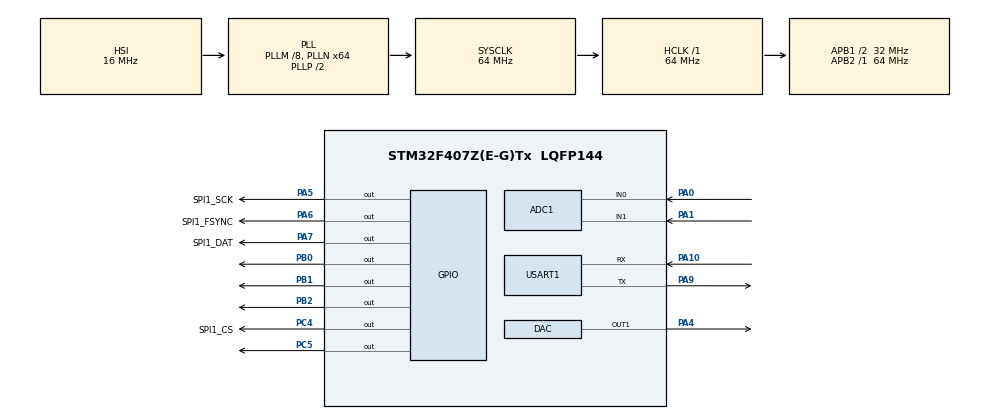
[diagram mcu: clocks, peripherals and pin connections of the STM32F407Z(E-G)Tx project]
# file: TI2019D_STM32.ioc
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ADC1.Channel-0\#ChannelRegularConversion=ADC_CHANNEL_1
ADC1.DMAContinuousRequests=ENABLE
ADC1.ExternalTrigConv=ADC_EXTERNALTRIGCONV_T2_CC2
ADC1.NbrOfConversion=1
ADC1.NbrOfConversionFlag=1
ADC1.Rank-0\#ChannelRegularConversion=1
ADC1.SamplingTime-0\#ChannelRegularConversion=ADC_SAMPLETIME_3CYCLES
ADC1.master=1
DAC.DAC_Trigger=DAC_TRIGGER_SOFTWARE
Dma.ADC1.0.Direction=DMA_PERIPH_TO_MEMORY
Dma.ADC1.0.FIFOMode=DMA_FIFOMODE_DISABLE
Dma.ADC1.0.Instance=DMA2_Stream0
Dma.ADC1.0.MemDataAlignment=DMA_MDATAALIGN_HALFWORD
Dma.ADC1.0.MemInc=DMA_MINC_ENABLE
Dma.ADC1.0.Mode=DMA_CIRCULAR
Dma.ADC1.0.PeriphDataAlignment=DMA_PDATAALIGN_HALFWORD
Dma.ADC1.0.PeriphInc=DMA_PINC_DISABLE
Dma.ADC1.0.Priority=DMA_PRIORITY_LOW
Dma.Request0=ADC1
Mcu.Family=STM32F4
Mcu.Name=STM32F407Z(E-G)Tx
Mcu.Package=LQFP144
NVIC.ADC_IRQn=true\:1\:0\:true\:false\:true\:true\:true\:true
NVIC.DMA2_Stream0_IRQn=true\:0\:0\:false\:false\:true\:false\:true\:true
NVIC.PriorityGroup=NVIC_PRIORITYGROUP_4
NVIC.USART1_IRQn=true\:0\:0\:true\:false\:true\:true\:true\:true
PA0-WKUP.Signal=ADCx_IN0
PA1.Signal=ADCx_IN1
PA10.Mode=Asynchronous
PA10.Signal=USART1_RX
PA4.Signal=COMP_DAC1_group
PA5.GPIO_Label=SPI1_SCK
PA5.Signal=GPIO_Output
PA6.GPIO_Label=SPI1_FSYNC
PA6.Signal=GPIO_Output
PA7.GPIO_Label=SPI1_DAT
PA7.Signal=GPIO_Output
PA9.Mode=Asynchronous
PA9.Signal=USART1_TX
PB0.Signal=GPIO_Output
PB1.Signal=GPIO_Output
PB2.Signal=GPIO_Output
PC4.GPIO_Label=SPI1_CS
PC4.Signal=GPIO_Output
PC5.Signal=GPIO_Output
PH0-OSC_IN.Mode=HSE-External-Oscillator
PH0-OSC_IN.Signal=RCC_OSC_IN
PH1-OSC_OUT.Mode=HSE-External-Oscillator
PH1-OSC_OUT.Signal=RCC_OSC_OUT
ProjectManager.HeapSize=0x200
ProjectManager.StackSize=0x1400
ProjectManager.TargetToolchain=MDK-ARM V5.32
RCC.48MHZClocksFreq_Value=32000000
RCC.AHBFreq_Value=64000000
RCC.APB1CLKDivider=RCC_HCLK_DIV2
RCC.APB1Freq_Value=32000000
RCC.APB1TimFreq_Value=64000000
RCC.APB2Freq_Value=64000000
RCC.APB2TimFreq_Value=64000000
RCC.CortexFreq_Value=64000000
RCC.HCLKFreq_Value=64000000
RCC.HSE_VALUE=8000000
RCC.HSI_VALUE=16000000
RCC.LSE_VALUE=32768
RCC.PLLM=8
RCC.PLLN=64
RCC.SYSCLKFreq_VALUE=64000000
RCC.SYSCLKSource=RCC_SYSCLKSOURCE_PLLCLK
RCC.VCOOutputFreq_Value=128000000
SH.ADCx_IN0.0=ADC1_IN0,IN0
SH.ADCx_IN1.0=ADC1_IN1,IN1
SH.COMP_DAC1_group.0=DAC_OUT1,DAC_OUT1
TIM2.AutoReloadPreload=TIM_AUTORELOAD_PRELOAD_DISABLE
TIM2.Channel-PWM\ Generation2\ No\ Output=TIM_CHANNEL_2
TIM2.Period=31
TIM2.TIM_MasterOutputTrigger=TIM_TRGO_RESET
USART1.VirtualMode=VM_ASYNC
VP_TIM2_VS_ClockSourceINT.Mode=Internal
VP_TIM2_VS_no_output2.Mode=PWM Generation2 No Output
board=custom

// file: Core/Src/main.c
/* USER CODE BEGIN Header */
/**
  ******************************************************************************
  * @file           : main.c
  * @brief          : Main program body
  ******************************************************************************
  * @attention
  *
  * Copyright (c) 2023 STMicroelectronics.
  * All rights reserved.
  *
  * This software is licensed under terms that can be found in the LICENSE file
  * in the root directory of this software component.
  * If no LICENSE file comes with this software, it is provided AS-IS.
  *
  ******************************************************************************
  */
/* USER CODE END Header */
#include "main.h"
#include "adc.h"
#include "dac.h"
#include "dma.h"
#include "tim.h"
#include "usart.h"
#include "gpio.h"

/* USER CODE BEGIN Includes */
#include "AD9833.h"
#include <math.h>
/* USER CODE END Includes */

/* USER CODE BEGIN PD */
#define MULTI_WINDOW 5
/* USER CODE END PD */

/* USER CODE BEGIN PV */
uint32_t DDS_Freq;
// uint32_t DDS_Freq_Array[] = {200, 206, 213, 220, 227, 234, 242, 250, 258, 266, 275, 283, 292, 302, 312, 322, 332, 343, 354, 365, 377, 389, 401, 414, 428, 441, 456, 470, 485, 501, 517, 534, 551, 569, 587, 606, 625, 646, 666, 688, 710, 733, 756, 781, 806, 832, 858, 886, 915, 944, 974, 1006, 1038, 1072, 1106, 1142, 1178, 1216, 1255, 1296, 1337, 1381, 1425, 1471, 1518, 1567, 1617, 1669, 1723, 1779, 1836, 1895, 1956, 2019, 2084, 2151, 2220, 2291, 2365, 2441, 2520, 2601, 2685, 2771, 2860, 2952, 3047, 3145, 3246, 3351, 3459, 3570, 3685, 3803, 3926, 4052, 4183, 4317, 4456, 4599, 4747, 4900, 5058, 5221, 5389, 5562, 5741, 5926, 6116, 6313, 6516, 6726, 6942, 7166, 7396, 7634, 7880, 8134, 8395, 8665, 8944, 9232, 9529, 9836, 10152, 10479, 10816, 11164, 11523, 11894, 12277, 12672, 13080, 13501, 13935, 14383, 14846, 15324, 15817, 16326, 16851, 17393, 17953, 18531, 19127, 19743, 20378, 21033, 21710, 22409, 23130, 23874, 24642, 25435, 26254, 27098, 27970, 28870, 29799, 30758, 31748, 32770, 33824, 34912, 36036, 37195, 38392, 39628, 40903, 42219, 43577, 44979, 46427, 47921, 49463, 51054, 52697, 54393, 56143, 57949, 59814, 61739, 63725, 65776, 67892, 70077, 72332, 74659, 77061, 79541, 82100, 84742, 87469, 90283, 93189, 96187, 99282, 102477, 105774, 109178, 112691, 116317, 120060, 123923, 127910, 132026, 136274, 140659, 145185, 149857, 154679, 159656, 164793, 170096, 175569, 181219, 187050, 193068, 199281, 205693, 212312, 219143, 226195, 233473, 240986, 248740, 256744, 265005, 273532, 282334, 291418, 300796, 310474, 320465, 330776, 341420, 352406, 363745, 375449, 387530};
static uint32_t DDS_Freq_Array[] = {100, 103, 107, 110, 114, 117, 121, 125, 129, 133, 137, 142, 146, 151, 156, 161, 166, 171, 177, 183, 188, 194, 201, 207, 214, 221, 228, 235, 243, 251, 259, 267, 276, 284, 294, 303, 313, 323, 333, 344, 355, 366, 378, 390, 403, 416, 429, 443, 457, 472, 487, 503, 519, 536, 553, 571, 589, 608, 628, 648, 669, 690, 712, 735, 759, 783, 809, 835, 862, 889, 918, 947, 978, 1009, 1042, 1075, 1110, 1146, 1183, 1221, 1260, 1300, 1342, 1385, 1430, 1476, 1524, 1573, 1623, 1675, 1729, 1785, 1842, 1902, 1963, 2026, 2091, 2159, 2228, 2300, 2374, 2450, 2529, 2610, 2694, 2781, 2870, 2963, 3058, 3157, 3258, 3363, 3471, 3583, 3698, 3817, 3940, 4067, 4198, 4333, 4472, 4616, 4765, 4918, 5076, 5239, 5408, 5582, 5762, 5947, 6138, 6336, 6540, 6750, 6967, 7192, 7423, 7662, 7908, 8163, 8426, 8697, 8977, 9265, 9564, 9871, 10189, 10517, 10855, 11204, 11565, 11937, 12321, 12718, 13127, 13549, 13985, 14435, 14900, 15379, 15874, 16385, 16912, 17456, 18018, 18598, 19196, 19814, 20451, 21109, 21789, 22490, 23213, 23960, 24731, 25527, 26348, 27196, 28071, 28975, 29907, 30869, 31863, 32888, 33946, 35038, 36166, 37330, 38531, 39771, 41050, 42371, 43734, 45142, 46594, 48094, 49641, 51238, 52887, 54589, 56345, 58158, 60030, 61961, 63955, 66013, 68137, 70330, 72593, 74928, 77339, 79828, 82397, 85048, 87785, 90609, 93525, 96534, 99640, 102847, 106156, 109572, 113097, 116737, 120493, 124370, 128372, 132503, 136766, 141167, 145709, 150398, 155237, 160232, 165388, 170710, 176203, 181873, 187725, 193765};
float Gain_Array[MAX_SEND_LEN];
static float A_mf, Output_DC, A_hf, A_lf;
static int freq_upper = 160000, Component = 0, Fault = 0;
static bool already = true;
/* USER CODE END PV */

void SystemClock_Config(void);

/* USER CODE BEGIN 0 */
void Find_Faults(void){//Ri为输入电阻，V为直流电压的平均值
	if(Output_DC < 8.5f && Ri == INF_RI)						  {Component = C1; Fault = OPEN_CIRCUIT;} // C1断
    else if(Output_DC > 11.5f  && Ri > 12000.0f)                  {Component = R1; Fault = OPEN_CIRCUIT;} //R1断
    else if(Output_DC > 11.0f  && Output_DC < 11.5f)              {Component = R1; Fault = SHORT_CIRCUIT;}//R1短
    else if(Output_DC > 3.5f   && Output_DC < 5.0f)               {Component = R2; Fault = OPEN_CIRCUIT;} //R2断
    else if(Output_DC > 11.5f  && Ri < 1000.0f)                   {Component = R2; Fault = SHORT_CIRCUIT;}//R2短
    else if(Output_DC > 0.1f   && Output_DC < 1.0f)               {Component = R3; Fault = OPEN_CIRCUIT;} //R3断
    else if(Output_DC > 11.5f  && Ri > 1000.0f && Ri < 3000.0f)   {Component = R3; Fault = SHORT_CIRCUIT;}//R3短
    else if(Output_DC > 11.5f  && Ri > 10000.0f && Ri < 12000.0f) {Component = R4; Fault = OPEN_CIRCUIT;} //R4断
    else if(Output_DC < 0.1f)                                     {Component = R4; Fault = SHORT_CIRCUIT;}//R4短
    else if(freq_upper < 80000.0f && freq_upper > 70000.0f)       {Component = C3; Fault = TOO_LARGE;}
    else if(Ri < 13000.0f && Ri > 9500.0f)                        {Component = C2; Fault = OPEN_CIRCUIT;}
    else if(A_hf > 4.95f)                                         {Component = C3; Fault = OPEN_CIRCUIT;}
    // else if(Ri < 500.0f)                                          {Component = C1; Fault = TOO_LARGE;}
    else if(A_lf > 4.45f)                                         {Component = C2; Fault = TOO_LARGE;}
}
/* USER CODE END 0 */

int main(void)
{

  /* MCU Configuration--------------------------------------------------------*/

  /* Reset of all peripherals, Initializes the Flash interface and the Systick. */
  HAL_Init();

  /* Configure the system clock */
  SystemClock_Config();

  /* Initialize all configured peripherals */
  MX_GPIO_Init();
  MX_DMA_Init();
  MX_ADC1_Init();
  MX_DAC_Init();
  MX_USART1_UART_Init();
  MX_TIM2_Init();
  /* USER CODE BEGIN 2 */
	HAL_TIM_Base_Start_IT(&htim2);
	HAL_ADC_Start_DMA(&hadc1, (uint32_t*)adc_values, MAX_DATA_NUM + 4);
  UARTHMI_Forget_It();
  AD9833_Set_Amplitude(0);
  HAL_Delay(300);
  ADC_Warm_Up();
  AD9833_Set_Amplitude(147);

  //* start
  DDS_Freq = 1000;
  AD9833_Default_Set(DDS_Freq);
  HAL_Delay(300);

  float* median_room = (float*)malloc(sizeof(float) * MULTI_WINDOW);
  adc_data_owner = INPUT_RESISTANCE;
  for (uint8_t i = 0; i < MULTI_WINDOW; ++i)
  {
    ADC_Get_Resistance(adc_data_owner);
    median_room[i] = Ri;
  }
  Ri = median(median_room, MULTI_WINDOW, true);
  if (!(Ri == INF_RI))
  {
	UARTHMI_Send_Float(0, Ri / 1000.0f);
  }
  adc_data_owner = OUTPUT_RESISTANCE;
  for (uint8_t i = 0; i < MULTI_WINDOW; ++i)
  {
    ADC_Get_Resistance(adc_data_owner);
    median_room[i] = Ro;
  }
  Ro = median(median_room, MULTI_WINDOW, true);
  UARTHMI_Send_Float(1, Ro / 1000.0f);

  SW0_CONN;
  SW1_DISC;
  SW2_CONN;
  SW3_DISC;
  HAL_Delay(RELAY_DELAY);
  Output_DC = ADC_Get_DC_Voltage(adc_data_owner) * 4;
  // `* 4` here because the output signal is attenuated to one-fourth of its original amount.
  SW0_CONN;
  SW1_DISC;
  SW2_DISC;
  SW3_CONN;
  HAL_Delay(RELAY_DELAY);
  for (uint8_t i = 0; i < MULTI_WINDOW; ++i)
  {
    median_room[i] = ADC_Get_Gain();
  }
  A_mf = median(median_room, MULTI_WINDOW, true);
  UARTHMI_Send_Number(1, (int)A_mf);
  free(median_room);
  A_mf = logf(A_mf);
  for (int i = 0; i < MAX_SEND_LEN; ++i)
  {
    DDS_Freq = DDS_Freq_Array[i];
    AD9833_Default_Set(DDS_Freq);
    Gain_Array[i] = logf(ADC_Get_Gain());
    if (already && (DDS_Freq > 60000) && (Gain_Array[i] < A_mf - 0.23f))
    {
      already = false;
      freq_upper = DDS_Freq;
    }
  }
  A_hf = Gain_Array[MAX_SEND_LEN - 1];
  A_lf = (Gain_Array[0] + Gain_Array[1] + Gain_Array[2]) / 3;
  UARTHMI_Send_Number(0, freq_upper / 1000);
  UARTHMI_Draw_Curve_addt(0, Gain_Array, MAX_SEND_LEN, 10);
  if (!already)
  {
    // printf("up:%d, DC:%f, Ri:%f\n", freq_upper, Output_DC, Ri);
  }
  // if (Component != 0)
  // {
    Find_Faults();
    UARTHMI_Send_Text(5, Component);
    UARTHMI_Send_Text(6, Fault);
  // }

  /* USER CODE END 2 */

  /* Infinite loop */
  while (1)
  {

  }
}

void SystemClock_Config(void)
{
  RCC_OscInitTypeDef RCC_OscInitStruct = {0};
  RCC_ClkInitTypeDef RCC_ClkInitStruct = {0};

  /** Configure the main internal regulator output voltage
  */
  __HAL_RCC_PWR_CLK_ENABLE();
  __HAL_PWR_VOLTAGESCALING_CONFIG(PWR_REGULATOR_VOLTAGE_SCALE1);

  /** Initializes the RCC Oscillators according to the specified parameters
  * in the RCC_OscInitTypeDef structure.
  */
  RCC_OscInitStruct.OscillatorType = RCC_OSCILLATORTYPE_HSI;
  RCC_OscInitStruct.HSIState = RCC_HSI_ON;
  RCC_OscInitStruct.HSICalibrationValue = RCC_HSICALIBRATION_DEFAULT;
  RCC_OscInitStruct.PLL.PLLState = RCC_PLL_ON;
  RCC_OscInitStruct.PLL.PLLSource = RCC_PLLSOURCE_HSI;
  RCC_OscInitStruct.PLL.PLLM = 8;
  RCC_OscInitStruct.PLL.PLLN = 64;
  RCC_OscInitStruct.PLL.PLLP = RCC_PLLP_DIV2;
  RCC_OscInitStruct.PLL.PLLQ = 4;
  if (HAL_RCC_OscConfig(&RCC_OscInitStruct) != HAL_OK)
  {
    Error_Handler();
  }

  /** Initializes the CPU, AHB and APB buses clocks
  */
  RCC_ClkInitStruct.ClockType = RCC_CLOCKTYPE_HCLK|RCC_CLOCKTYPE_SYSCLK
                              |RCC_CLOCKTYPE_PCLK1|RCC_CLOCKTYPE_PCLK2;
  RCC_ClkInitStruct.SYSCLKSource = RCC_SYSCLKSOURCE_PLLCLK;
  RCC_ClkInitStruct.AHBCLKDivider = RCC_SYSCLK_DIV1;
  RCC_ClkInitStruct.APB1CLKDivider = RCC_HCLK_DIV2;
  RCC_ClkInitStruct.APB2CLKDivider = RCC_HCLK_DIV1;

  if (HAL_RCC_ClockConfig(&RCC_ClkInitStruct, FLASH_LATENCY_2) != HAL_OK)
  {
    Error_Handler();
  }
}

void Error_Handler(void)
{
  /* USER CODE BEGIN Error_Handler_Debug */
  /* User can add his own implementation to report the HAL error return state */
  __disable_irq();
	while (1)
	{
		DAC_Output(2.5);
		HAL_Delay(350);
		DAC_Output(0.5);
		HAL_Delay(150);
	}
  /* USER CODE END Error_Handler_Debug */
}

#ifdef  USE_FULL_ASSERT
/**
  * @brief  Reports the name of the source file and the source line number
  *         where the assert_param error has occurred.
  * @param  file: pointer to the source file name
  * @param  line: assert_param error line source number
  * @retval None
  */
void assert_failed(uint8_t *file, uint32_t line)
{
  /* USER CODE BEGIN 6 */
  /* User can add his own implementation to report the file name and line number,
     ex:  */
  printf("Wrong parameters value: file %s on line %d\r\n", file, line);
  printf("%lu", ((&htim2)->Instance));
  /* USER CODE END 6 */
}
#endif /* USE_FULL_ASSERT */
